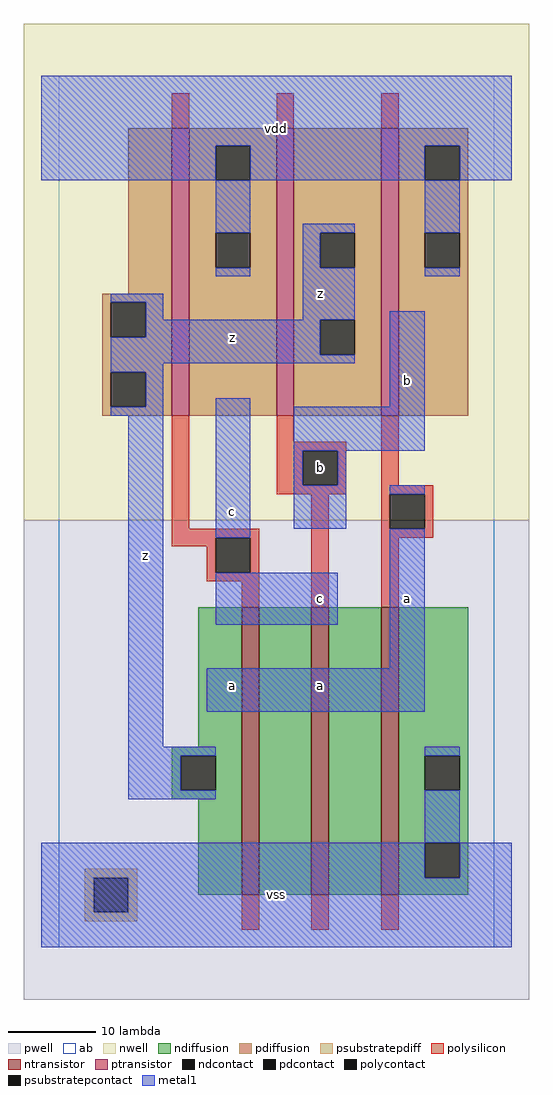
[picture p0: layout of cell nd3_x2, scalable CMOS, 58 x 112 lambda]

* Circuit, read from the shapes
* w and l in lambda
.subckt nd3_x2 a b c vdd vss z
M1 n1 c z vss nfet w=33 l=2
M2 n2 b n1 vss nfet w=33 l=2
M3 vss a n2 vss nfet w=33 l=2
M4 vdd c z n3 pfet w=33 l=2
M5 z b vdd n3 pfet w=33 l=2
M6 vdd a z n3 pfet w=33 l=2
.ends

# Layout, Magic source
magic
tech scmos
<< ab >>
rect 0 0 50 100
<< pwell >>
rect -4 -6 54 49
<< nwell >>
rect -4 49 54 106
<< polysilicon >>
rect 13 94 15 98
rect 25 94 27 98
rect 37 94 39 98
rect 13 48 15 61
rect 25 58 27 61
rect 25 57 33 58
rect 25 53 28 57
rect 32 53 33 57
rect 25 52 33 53
rect 37 53 39 61
rect 37 52 43 53
rect 13 47 23 48
rect 13 46 18 47
rect 17 43 18 46
rect 22 43 23 47
rect 17 42 23 43
rect 21 39 23 42
rect 29 39 31 52
rect 37 48 38 52
rect 42 48 43 52
rect 37 47 43 48
rect 37 39 39 47
rect 21 2 23 6
rect 29 2 31 6
rect 37 2 39 6
<< ndiffusion >>
rect 16 23 21 39
rect 13 22 21 23
rect 13 18 14 22
rect 18 18 21 22
rect 13 17 21 18
rect 16 6 21 17
rect 23 6 29 39
rect 31 6 37 39
rect 39 22 47 39
rect 39 18 42 22
rect 46 18 47 22
rect 39 12 47 18
rect 39 8 42 12
rect 46 8 47 12
rect 39 6 47 8
<< pdiffusion >>
rect 8 75 13 94
rect 5 74 13 75
rect 5 70 6 74
rect 10 70 13 74
rect 5 66 13 70
rect 5 62 6 66
rect 10 62 13 66
rect 5 61 13 62
rect 15 92 25 94
rect 15 88 18 92
rect 22 88 25 92
rect 15 82 25 88
rect 15 78 18 82
rect 22 78 25 82
rect 15 61 25 78
rect 27 82 37 94
rect 27 78 30 82
rect 34 78 37 82
rect 27 72 37 78
rect 27 68 30 72
rect 34 68 37 72
rect 27 61 37 68
rect 39 92 47 94
rect 39 88 42 92
rect 46 88 47 92
rect 39 82 47 88
rect 39 78 42 82
rect 46 78 47 82
rect 39 61 47 78
<< metal1 >>
rect -2 92 52 100
rect -2 88 18 92
rect 22 88 42 92
rect 46 88 52 92
rect 18 82 22 88
rect 18 77 22 78
rect 28 82 34 83
rect 28 78 30 82
rect 6 74 12 75
rect 10 72 12 74
rect 28 72 34 78
rect 42 82 46 88
rect 42 77 46 78
rect 10 70 30 72
rect 6 68 30 70
rect 6 67 34 68
rect 6 66 12 67
rect 10 62 12 66
rect 6 61 12 62
rect 8 23 12 61
rect 18 47 22 63
rect 38 62 42 73
rect 27 57 42 62
rect 27 53 28 57
rect 32 53 33 57
rect 27 48 33 53
rect 38 52 42 53
rect 18 37 32 43
rect 38 32 42 48
rect 17 27 42 32
rect 8 22 18 23
rect 8 18 14 22
rect 8 17 18 18
rect 42 22 46 23
rect 42 12 46 18
rect -2 8 42 12
rect 46 8 52 12
rect -2 0 52 8
<< ntransistor >>
rect 21 6 23 39
rect 29 6 31 39
rect 37 6 39 39
<< ptransistor >>
rect 13 61 15 94
rect 25 61 27 94
rect 37 61 39 94
<< polycontact >>
rect 28 53 32 57
rect 18 43 22 47
rect 38 48 42 52
<< ndcontact >>
rect 14 18 18 22
rect 42 18 46 22
rect 42 8 46 12
<< pdcontact >>
rect 6 70 10 74
rect 6 62 10 66
rect 18 88 22 92
rect 18 78 22 82
rect 30 78 34 82
rect 30 68 34 72
rect 42 88 46 92
rect 42 78 46 82
<< psubstratepcontact >>
rect 4 4 8 8
<< psubstratepdiff >>
rect 3 8 9 9
rect 3 4 4 8
rect 8 4 9 8
rect 3 3 9 4
<< labels >>
rlabel metal1 10 45 10 45 6 z
rlabel metal1 10 45 10 45 6 z
rlabel metal1 25 6 25 6 6 vss
rlabel metal1 25 6 25 6 6 vss
rlabel metal1 20 30 20 30 6 a
rlabel metal1 20 30 20 30 6 a
rlabel metal1 20 50 20 50 6 c
rlabel metal1 20 50 20 50 6 c
rlabel metal1 20 70 20 70 6 z
rlabel metal1 20 70 20 70 6 z
rlabel metal1 25 94 25 94 6 vdd
rlabel metal1 25 94 25 94 6 vdd
rlabel metal1 30 30 30 30 6 a
rlabel metal1 30 30 30 30 6 a
rlabel metal1 30 40 30 40 6 c
rlabel metal1 30 40 30 40 6 c
rlabel polycontact 30 55 30 55 6 b
rlabel polycontact 30 55 30 55 6 b
rlabel metal1 30 75 30 75 6 z
rlabel metal1 30 75 30 75 6 z
rlabel metal1 40 40 40 40 6 a
rlabel metal1 40 40 40 40 6 a
rlabel metal1 40 65 40 65 6 b
rlabel metal1 40 65 40 65 6 b
<< end >>
